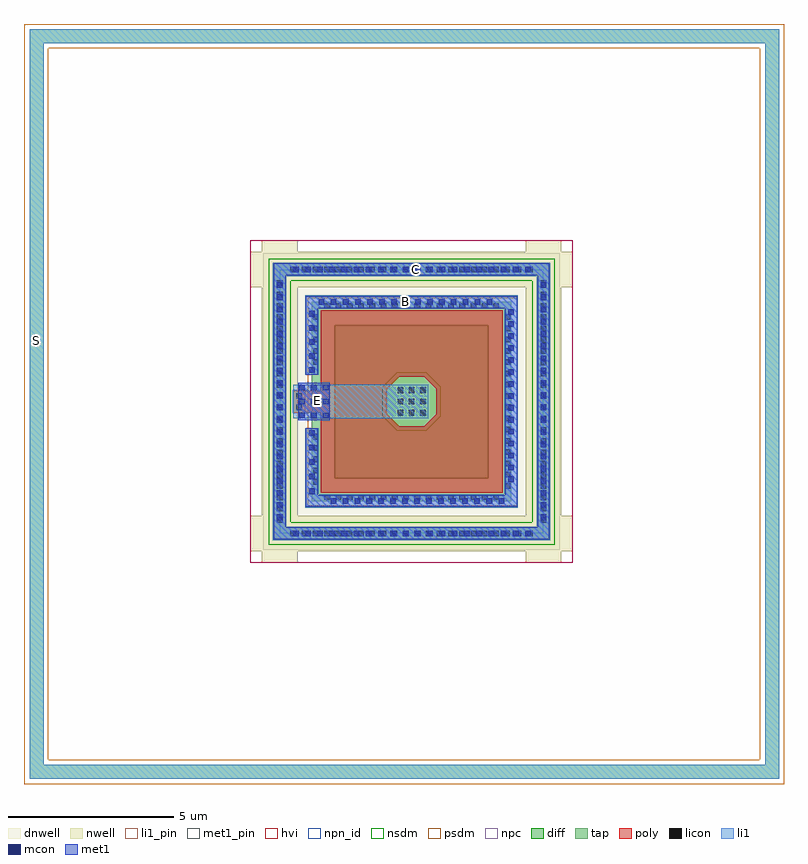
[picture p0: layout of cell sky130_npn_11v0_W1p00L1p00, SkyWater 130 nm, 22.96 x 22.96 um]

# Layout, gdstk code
import gdstk
lib = gdstk.Library(unit=1e-6, precision=1e-09)
def R(c, l, rs):  # rectangles x0, y0, x1, y1
    for r in rs: c.add(gdstk.rectangle(r[:2], r[2:], *l))
def A(c, l, x, y, w, h, nx, ny, dx, dy):  # array of equal rectangles
    R(c, l, [(x+i*dx, y+j*dy, x+i*dx+w, y+j*dy+h) for i in range(nx) for j in range(ny)])
def P(c, l, *ps):  # polygons
    for p in ps: c.add(gdstk.Polygon(p, *l))
dnwell = (64, 18)
nwell = (64, 20)
diff = (65, 20)
tap = (65, 44)
poly = (66, 20)
licon = (66, 44)
li1_pin = (67, 16)
li1 = (67, 20)
mcon = (67, 44)
met1_pin = (68, 16)
met1 = (68, 20)
hvi = (75, 20)
npn_id = (82, 20)
nsdm = (93, 44)
psdm = (94, 20)
npc = (95, 20)

sky130_npn_11v0_w1p00l1p = lib.new_cell('sky130_npn_11v0_W1p00L1p00')
R(sky130_npn_11v0_w1p00l1p, dnwell, [(0.4,0.4,9.35,9.35)])
R(sky130_npn_11v0_w1p00l1p, nwell, [(0.35,0,1.43,0.35), (8.32,0,9.4,0.35), (0,0.35,0.35,1.43), (9.4,0.35,9.75,1.43), (0,8.32,0.35,9.4), (9.4,8.32,9.75,9.4), (0.35,9.4,1.43,9.75), (8.32,9.4,9.4,9.75)])
R(sky130_npn_11v0_w1p00l1p, diff, [(2.56,2.56,7.19,7.185)])
P(sky130_npn_11v0_w1p00l1p, tap, [(1.86,1.86),(1.86,7.185),(2.56,7.185),(2.56,2.56),(7.19,2.56),(7.19,7.185),(1.86,7.185),(1.86,7.885),(7.89,7.885),(7.89,1.86)],
  [(0.685,0.685),(0.685,8.655),(1.095,8.655),(1.095,1.095),(8.655,1.095),(8.655,8.655),(0.685,8.655),(0.685,9.065),(9.065,9.065),(9.065,0.685)],
  [(-6.665,-6.515),(-6.665,15.705),(-6.245,15.705),(-6.245,-6.095),(15.555,-6.095),(15.555,15.705),(-6.665,15.705),(-6.665,16.125),(15.975,16.125),(15.975,-6.515)])
R(sky130_npn_11v0_w1p00l1p, poly, [(1.475,4.535,2.125,5.205)])
P(sky130_npn_11v0_w1p00l1p, poly, [(2.125,2.125),(2.125,7.625),(5.625,7.625),(5.625,5.255),(5.255,5.625),(4.5,5.625),(4.125,5.25),(4.125,4.5),(4.5,4.125),(5.255,4.125),(5.625,4.495),(5.625,7.625),(7.625,7.625),(7.625,2.125)])
A(sky130_npn_11v0_w1p00l1p, licon, 1.215, 0.805, 0.17, 0.17, 20, 2, 0.34, 7.97)
A(sky130_npn_11v0_w1p00l1p, licon, 0.805, 1.215, 0.17, 0.17, 1, 20, 0, 0.34)
A(sky130_npn_11v0_w1p00l1p, licon, 8.775, 1.215, 0.17, 0.17, 1, 20, 0, 0.34)
A(sky130_npn_11v0_w1p00l1p, licon, 2.24, 1.9, 0.17, 0.17, 16, 2, 0.34, 5.78)
A(sky130_npn_11v0_w1p00l1p, licon, 7.68, 2.24, 0.17, 0.17, 1, 16, 0, 0.34)
A(sky130_npn_11v0_w1p00l1p, licon, 1.9, 2.365, 0.17, 0.17, 1, 5, 0, 0.34)
A(sky130_npn_11v0_w1p00l1p, licon, 4.45, 4.45, 0.17, 0.17, 3, 3, 0.34, 0.34)
A(sky130_npn_11v0_w1p00l1p, licon, 1.9, 5.98, 0.17, 0.17, 1, 5, 0, 0.34)
R(sky130_npn_11v0_w1p00l1p, licon, [(8.02,0.805,8.19,0.975), (8.365,0.805,8.535,0.975), (1.385,4.615,1.555,4.785), (1.385,4.955,1.555,5.125), (-6.535,6.665,-6.365,6.835), (0.805,8.02,0.975,8.19), (8.775,8.02,8.945,8.19), (0.805,8.365,0.975,8.535), (8.775,8.365,8.945,8.535), (8.02,8.775,8.19,8.945), (8.365,8.775,8.535,8.945)])
R(sky130_npn_11v0_w1p00l1p, li1_pin, [(-6.552,6.643,-6.382,6.813)])
R(sky130_npn_11v0_w1p00l1p, li1, [(1.305,4.37,5.38,5.38)])
P(sky130_npn_11v0_w1p00l1p, li1, [(1.66,1.67),(1.66,4.065),(2.07,4.065),(2.07,2.07),(7.68,2.07),(7.68,7.68),(2.07,7.68),(2.07,5.68),(1.66,5.68),(1.66,8.08),(8.08,8.08),(8.08,1.67)],
  [(0.685,0.685),(0.685,8.655),(1.095,8.655),(1.095,1.095),(8.655,1.095),(8.655,8.655),(0.685,8.655),(0.685,9.065),(9.065,9.065),(9.065,0.685)],
  [(-6.665,-6.515),(-6.665,15.705),(-6.245,15.705),(-6.245,-6.095),(15.555,-6.095),(15.555,15.705),(-6.665,15.705),(-6.665,16.125),(15.975,16.125),(15.975,-6.515)])
A(sky130_npn_11v0_w1p00l1p, mcon, 1.295, 0.805, 0.17, 0.17, 5, 2, 0.365, 7.97)
A(sky130_npn_11v0_w1p00l1p, mcon, 3.125, 0.805, 0.17, 0.17, 15, 2, 0.37, 7.97)
A(sky130_npn_11v0_w1p00l1p, mcon, 0.805, 1.295, 0.17, 0.17, 1, 4, 0, 0.365)
A(sky130_npn_11v0_w1p00l1p, mcon, 8.775, 1.295, 0.17, 0.17, 1, 4, 0, 0.365)
A(sky130_npn_11v0_w1p00l1p, mcon, 2.43, 1.785, 0.17, 0.17, 9, 1, 0.36, 0)
A(sky130_npn_11v0_w1p00l1p, mcon, 5.675, 1.785, 0.17, 0.17, 6, 1, 0.365, 0)
A(sky130_npn_11v0_w1p00l1p, mcon, 1.775, 2.08, 0.17, 0.17, 1, 4, 0, 0.44)
A(sky130_npn_11v0_w1p00l1p, mcon, 7.795, 2.44, 0.17, 0.17, 1, 11, 0, 0.36)
A(sky130_npn_11v0_w1p00l1p, mcon, 0.805, 2.76, 0.17, 0.17, 1, 16, 0, 0.37)
A(sky130_npn_11v0_w1p00l1p, mcon, 8.775, 2.76, 0.17, 0.17, 1, 16, 0, 0.37)
A(sky130_npn_11v0_w1p00l1p, mcon, 1.475, 4.37, 0.17, 0.17, 3, 3, 0.36, 0.42)
A(sky130_npn_11v0_w1p00l1p, mcon, 1.775, 5.74, 0.17, 0.17, 1, 5, 0, 0.425)
A(sky130_npn_11v0_w1p00l1p, mcon, 7.795, 6.405, 0.17, 0.17, 1, 4, 0, 0.365)
A(sky130_npn_11v0_w1p00l1p, mcon, 2.07, 7.795, 0.17, 0.17, 7, 1, 0.365, 0)
A(sky130_npn_11v0_w1p00l1p, mcon, 4.62, 7.795, 0.17, 0.17, 8, 1, 0.36, 0)
R(sky130_npn_11v0_w1p00l1p, mcon, [(1.775,3.835,1.945,4.005)])
R(sky130_npn_11v0_w1p00l1p, met1_pin, [(1.935,4.82,2.105,4.99), (4.615,7.825,4.785,7.995), (4.91,8.775,5.08,8.945)])
R(sky130_npn_11v0_w1p00l1p, met1, [(0.71,5.05,1.07,5.13)])
R(sky130_npn_11v0_w1p00l1p, hvi, [(0,0,9.75,9.75)])
R(sky130_npn_11v0_w1p00l1p, npn_id, [(0.895,0.895,8.855,8.855)])
P(sky130_npn_11v0_w1p00l1p, nsdm, [(4.44,3.995),(3.995,4.44),(3.995,5.31),(4.44,5.755),(5.315,5.755),(5.755,5.315),(5.755,4.435),(5.315,3.995)])
P(sky130_npn_11v0_w1p00l1p, psdm, [(1.73,1.725),(1.73,7.185),(2.56,7.185),(2.56,2.56),(7.19,2.56),(7.19,7.185),(1.73,7.185),(1.73,8.015),(8.06,8.015),(8.06,1.725)],
  [(-6.835,-6.68),(-6.835,15.54),(-6.095,15.54),(-6.095,-5.94),(15.385,-5.94),(15.385,15.54),(-6.835,15.54),(-6.835,16.28),(16.125,16.28),(16.125,-6.68)])
sky130_npn_11v0_w1p00l1p.add(gdstk.FlexPath([(4.39,4.875),(5.36,4.875)], 0.93, ends="flush", simple_path=True, layer=65, datatype=20))  # diff
sky130_npn_11v0_w1p00l1p.add(gdstk.FlexPath([(1.92,4.31),(1.92,5.44)], 0.95, ends="flush", simple_path=True, layer=68, datatype=20))  # met1
sky130_npn_11v0_w1p00l1p.add(gdstk.FlexPath([(0.89,5.13),(0.89,8.865),(8.86,8.865),(8.86,0.89),(0.89,0.89),(0.89,5.05)], 0.36, ends="flush", simple_path=True, layer=68, datatype=20))  # met1
sky130_npn_11v0_w1p00l1p.add(gdstk.FlexPath([(1.86,5.68),(1.86,7.88),(7.88,7.88),(7.88,1.87),(1.86,1.87),(1.86,4.065)], 0.36, ends="flush", simple_path=True, layer=68, datatype=20))  # met1
sky130_npn_11v0_w1p00l1p.add(gdstk.FlexPath([(1.47,5.205),(1.47,4.535)], 0.33, ends="flush", simple_path=True, layer=66, datatype=20))  # poly
sky130_npn_11v0_w1p00l1p.add(gdstk.FlexPath([(1.47,5.225),(1.47,4.515)], 0.37, ends="flush", simple_path=True, layer=95, datatype=20))  # npc
sky130_npn_11v0_w1p00l1p.add(gdstk.FlexPath([(8.785,8.86),(0.965,8.86)], 0.43, ends="flush", simple_path=True, layer=93, datatype=44))  # nsdm
sky130_npn_11v0_w1p00l1p.add(gdstk.FlexPath([(8.785,0.89),(0.965,0.89)], 0.43, ends="flush", simple_path=True, layer=93, datatype=44))  # nsdm
sky130_npn_11v0_w1p00l1p.add(gdstk.FlexPath([(4.26,4.875),(5.49,4.875)], 1.19, ends="flush", simple_path=True, layer=93, datatype=44))  # nsdm
sky130_npn_11v0_w1p00l1p.add(gdstk.FlexPath([(8.86,8.785),(8.86,0.965)], 0.43, ends="flush", simple_path=True, layer=93, datatype=44))  # nsdm
sky130_npn_11v0_w1p00l1p.add(gdstk.FlexPath([(0.89,1.84),(0.89,0.89),(8.86,0.89),(8.86,8.86),(0.89,8.86),(0.89,1.84)], 0.67, ends="flush", simple_path=True, layer=93, datatype=44))  # nsdm
sky130_npn_11v0_w1p00l1p.add(gdstk.FlexPath([(0.89,8.785),(0.89,0.965)], 0.43, ends="flush", simple_path=True, layer=93, datatype=44))  # nsdm
sky130_npn_11v0_w1p00l1p.add(gdstk.FlexPath([(8.985,0.89),(0.765,0.89)], 0.83, ends="flush", simple_path=True, layer=75, datatype=20))  # hvi
sky130_npn_11v0_w1p00l1p.add(gdstk.FlexPath([(8.985,8.86),(0.765,8.86)], 0.83, ends="flush", simple_path=True, layer=75, datatype=20))  # hvi
sky130_npn_11v0_w1p00l1p.add(gdstk.FlexPath([(8.86,8.985),(8.86,0.765)], 0.83, ends="flush", simple_path=True, layer=75, datatype=20))  # hvi
sky130_npn_11v0_w1p00l1p.add(gdstk.FlexPath([(0.89,8.985),(0.89,0.765)], 0.83, ends="flush", simple_path=True, layer=75, datatype=20))  # hvi
sky130_npn_11v0_w1p00l1p.add(gdstk.FlexPath([(8.985,0.89),(0.765,0.89)], 0.83, ends="flush", simple_path=True, layer=64, datatype=20))  # nwell
sky130_npn_11v0_w1p00l1p.add(gdstk.FlexPath([(8.985,8.86),(0.765,8.86)], 0.83, ends="flush", simple_path=True, layer=64, datatype=20))  # nwell
sky130_npn_11v0_w1p00l1p.add(gdstk.FlexPath([(8.86,8.985),(8.86,0.765)], 0.83, ends="flush", simple_path=True, layer=64, datatype=20))  # nwell
sky130_npn_11v0_w1p00l1p.add(gdstk.FlexPath([(0.89,1.84),(0.89,0.89),(8.86,0.89),(8.86,8.86),(0.89,8.86),(0.89,1.84)], 1.08, ends="flush", simple_path=True, layer=64, datatype=20))  # nwell
sky130_npn_11v0_w1p00l1p.add(gdstk.FlexPath([(0.89,8.985),(0.89,0.765)], 0.83, ends="flush", simple_path=True, layer=64, datatype=20))  # nwell
sky130_npn_11v0_w1p00l1p.add(gdstk.Label('S', (-6.467,6.728), layer=67, texttype=5))
sky130_npn_11v0_w1p00l1p.add(gdstk.Label('C', (4.995,8.86), layer=68, texttype=5))
sky130_npn_11v0_w1p00l1p.add(gdstk.Label('E', (2.02,4.905), layer=68, texttype=5))
sky130_npn_11v0_w1p00l1p.add(gdstk.Label('B', (4.7,7.91), layer=68, texttype=5))

lib.write_gds('sky130_npn_11v0_W1p00L1p00.gds')
